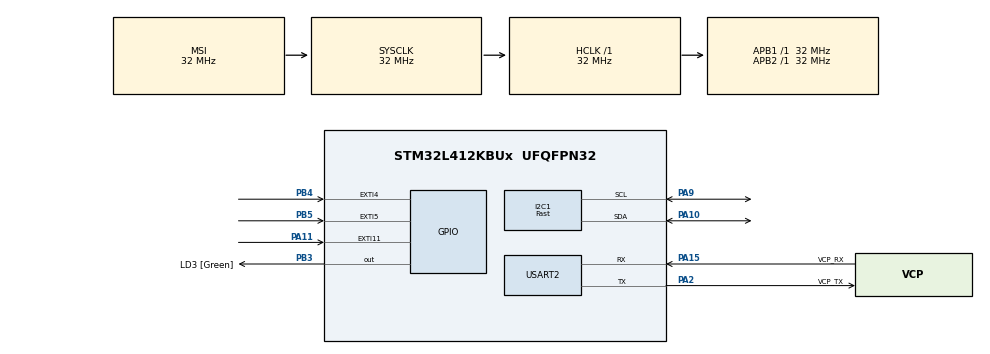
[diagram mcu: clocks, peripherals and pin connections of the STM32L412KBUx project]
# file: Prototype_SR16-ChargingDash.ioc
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I2C1.I2C_Speed_Mode=I2C_Fast
I2C1.Timing=0x0060112F
Mcu.Family=STM32L4
Mcu.Name=STM32L412KBUx
Mcu.Package=UFQFPN32
NVIC.EXTI15_10_IRQn=true\:0\:0\:false\:false\:true\:true\:true\:true
NVIC.EXTI4_IRQn=true\:0\:0\:false\:false\:true\:true\:true\:true
NVIC.EXTI9_5_IRQn=true\:0\:0\:false\:false\:true\:true\:true\:true
NVIC.PriorityGroup=NVIC_PRIORITYGROUP_4
PA0-CK_IN.Mode=HSE-External-Clock-Source-for-LittleOrca
PA0-CK_IN.Signal=RCC_CK_IN
PA10.Mode=I2C
PA10.Signal=I2C1_SDA
PA11.GPIO_ModeDefaultEXTI=GPIO_MODE_IT_FALLING
PA11.GPIO_PuPd=GPIO_PULLUP
PA11.Signal=GPXTI11
PA13\ (JTMS/SWDIO).GPIO_Label=SWDIO
PA13\ (JTMS/SWDIO).Mode=Serial_Wire
PA13\ (JTMS/SWDIO).Signal=SYS_JTMS-SWDIO
PA14\ (JTCK/SWCLK).GPIO_Label=SWCLK
PA14\ (JTCK/SWCLK).Mode=Serial_Wire
PA14\ (JTCK/SWCLK).Signal=SYS_JTCK-SWCLK
PA15\ (JTDI).GPIO_Label=VCP_RX
PA15\ (JTDI).Mode=Asynchronous
PA15\ (JTDI).Signal=USART2_RX
PA2.GPIO_Label=VCP_TX
PA2.Mode=Asynchronous
PA2.Signal=USART2_TX
PA9.Mode=I2C
PA9.Signal=I2C1_SCL
PB3\ (JTDO/TRACESWO).GPIO_Label=LD3 [Green]
PB3\ (JTDO/TRACESWO).Signal=GPIO_Output
PB4\ (NJTRST).GPIO_ModeDefaultEXTI=GPIO_MODE_IT_FALLING
PB4\ (NJTRST).GPIO_PuPd=GPIO_PULLUP
PB4\ (NJTRST).Signal=GPXTI4
PB5.GPIO_ModeDefaultEXTI=GPIO_MODE_IT_FALLING
PB5.GPIO_PuPd=GPIO_PULLUP
PB5.Signal=GPXTI5
PC14-OSC32_IN\ (PC14).Mode=LSE-External-Oscillator
PC14-OSC32_IN\ (PC14).Signal=RCC_OSC32_IN
PC15-OSC32_OUT\ (PC15).Mode=LSE-External-Oscillator
PC15-OSC32_OUT\ (PC15).Signal=RCC_OSC32_OUT
ProjectManager.HeapSize=0x200
ProjectManager.StackSize=0x400
ProjectManager.TargetToolchain=STM32CubeIDE
RCC.ADCFreq_Value=32000000
RCC.AHBFreq_Value=32000000
RCC.APB1Freq_Value=32000000
RCC.APB1TimFreq_Value=32000000
RCC.APB2Freq_Value=32000000
RCC.APB2TimFreq_Value=32000000
RCC.CortexFreq_Value=32000000
RCC.FLatency=FLASH_LATENCY_1
RCC.HCLKFreq_Value=32000000
RCC.HSE_VALUE=8000000
RCC.HSI48_VALUE=48000000
RCC.HSICalibrationValue=64
RCC.HSI_VALUE=16000000
RCC.LSE_Drive_Capability=RCC_LSEDRIVE_LOW
RCC.MSIClockRange=RCC_MSIRANGE_10
RCC.MSI_VALUE=32000000
RCC.SYSCLKFreq_VALUE=32000000
RCC.USBFreq_Value=32000000
RCC.VCOOutputFreq_Value=256000000
USART2.VirtualMode-Asynchronous=VM_ASYNC
board=NUCLEO-L412KB

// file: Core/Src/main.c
/* USER CODE BEGIN Header */
/**
  ******************************************************************************
  * @file           : main.c
  * @brief          : Main program body
  ******************************************************************************
  * @attention
  *
  * Copyright (c) 2025 STMicroelectronics.
  * All rights reserved.
  *
  * This software is licensed under terms that can be found in the LICENSE file
  * in the root directory of this software component.
  * If no LICENSE file comes with this software, it is provided AS-IS.
  *
  ******************************************************************************
  */
/* USER CODE END Header */
#include "main.h"

/* USER CODE BEGIN Includes */
#include <stdbool.h>
#include "display.h"
#include "ssd1306.h"

/* USER CODE END Includes */

I2C_HandleTypeDef hi2c1;

UART_HandleTypeDef huart2;

/* USER CODE BEGIN PV */

//Variables for button presses.
int selectedButton = 0;
bool selectPressed = false;
uint32_t currentTime;
uint32_t previousTime;

/* USER CODE END PV */

void SystemClock_Config(void);
static void MX_GPIO_Init(void);
static void MX_USART2_UART_Init(void);
static void MX_I2C1_Init(void);
/* USER CODE BEGIN PFP */

void HAL_GPIO_EXTI_Callback(uint16_t GPIO_Pin);

/* USER CODE END PFP */

/* USER CODE BEGIN 0 */

//Interrupt for button press.
void HAL_GPIO_EXTI_Callback(uint16_t GPIO_Pin) {

	currentTime = HAL_GetTick();

	//debounce set at 200ms
	if (currentTime - previousTime > 200) {
		//rightmost button is GPIO_PIN_4, leftmost button is GPIO_PIN_11
		if (GPIO_Pin == GPIO_PIN_4 && !selectPressed) {
			selectedButton++;
		}
		else if (GPIO_Pin == GPIO_PIN_11 && !selectPressed) {
			selectedButton--;
		}
		else if (GPIO_Pin == GPIO_PIN_5) {
			selectPressed = true;
		}
		previousTime = currentTime;
	}
}

/* USER CODE END 0 */

int main(void)
{

  /* MCU Configuration--------------------------------------------------------*/

  /* Reset of all peripherals, Initializes the Flash interface and the Systick. */
  HAL_Init();

  /* Configure the system clock */
  SystemClock_Config();

  /* Initialize all configured peripherals */
  MX_GPIO_Init();
  MX_USART2_UART_Init();
  MX_I2C1_Init();
  /* USER CODE BEGIN 2 */
  SRE_Display_Init(true);

  /* USER CODE END 2 */

  /* Infinite loop */
  while (1)
  {

  }
}

void SystemClock_Config(void)
{
  RCC_OscInitTypeDef RCC_OscInitStruct = {0};
  RCC_ClkInitTypeDef RCC_ClkInitStruct = {0};

  /** Configure the main internal regulator output voltage
  */
  if (HAL_PWREx_ControlVoltageScaling(PWR_REGULATOR_VOLTAGE_SCALE1) != HAL_OK)
  {
    Error_Handler();
  }

  /** Configure LSE Drive Capability
  */
  HAL_PWR_EnableBkUpAccess();
  __HAL_RCC_LSEDRIVE_CONFIG(RCC_LSEDRIVE_LOW);

  /** Initializes the RCC Oscillators according to the specified parameters
  * in the RCC_OscInitTypeDef structure.
  */
  RCC_OscInitStruct.OscillatorType = RCC_OSCILLATORTYPE_LSE|RCC_OSCILLATORTYPE_MSI;
  RCC_OscInitStruct.LSEState = RCC_LSE_ON;
  RCC_OscInitStruct.MSIState = RCC_MSI_ON;
  RCC_OscInitStruct.MSICalibrationValue = 0;
  RCC_OscInitStruct.MSIClockRange = RCC_MSIRANGE_10;
  RCC_OscInitStruct.PLL.PLLState = RCC_PLL_NONE;
  if (HAL_RCC_OscConfig(&RCC_OscInitStruct) != HAL_OK)
  {
    Error_Handler();
  }

  /** Initializes the CPU, AHB and APB buses clocks
  */
  RCC_ClkInitStruct.ClockType = RCC_CLOCKTYPE_HCLK|RCC_CLOCKTYPE_SYSCLK
                              |RCC_CLOCKTYPE_PCLK1|RCC_CLOCKTYPE_PCLK2;
  RCC_ClkInitStruct.SYSCLKSource = RCC_SYSCLKSOURCE_MSI;
  RCC_ClkInitStruct.AHBCLKDivider = RCC_SYSCLK_DIV1;
  RCC_ClkInitStruct.APB1CLKDivider = RCC_HCLK_DIV1;
  RCC_ClkInitStruct.APB2CLKDivider = RCC_HCLK_DIV1;

  if (HAL_RCC_ClockConfig(&RCC_ClkInitStruct, FLASH_LATENCY_1) != HAL_OK)
  {
    Error_Handler();
  }

  /** Enable MSI Auto calibration
  */
  HAL_RCCEx_EnableMSIPLLMode();
}

static void MX_I2C1_Init(void)
{

  hi2c1.Instance = I2C1;
  hi2c1.Init.Timing = 0x0060112F;
  hi2c1.Init.OwnAddress1 = 0;
  hi2c1.Init.AddressingMode = I2C_ADDRESSINGMODE_7BIT;
  hi2c1.Init.DualAddressMode = I2C_DUALADDRESS_DISABLE;
  hi2c1.Init.OwnAddress2 = 0;
  hi2c1.Init.OwnAddress2Masks = I2C_OA2_NOMASK;
  hi2c1.Init.GeneralCallMode = I2C_GENERALCALL_DISABLE;
  hi2c1.Init.NoStretchMode = I2C_NOSTRETCH_DISABLE;
  if (HAL_I2C_Init(&hi2c1) != HAL_OK)
  {
    Error_Handler();
  }

  /** Configure Analogue filter
  */
  if (HAL_I2CEx_ConfigAnalogFilter(&hi2c1, I2C_ANALOGFILTER_ENABLE) != HAL_OK)
  {
    Error_Handler();
  }

  /** Configure Digital filter
  */
  if (HAL_I2CEx_ConfigDigitalFilter(&hi2c1, 0) != HAL_OK)
  {
    Error_Handler();
  }

}

static void MX_USART2_UART_Init(void)
{

  huart2.Instance = USART2;
  huart2.Init.BaudRate = 115200;
  huart2.Init.WordLength = UART_WORDLENGTH_8B;
  huart2.Init.StopBits = UART_STOPBITS_1;
  huart2.Init.Parity = UART_PARITY_NONE;
  huart2.Init.Mode = UART_MODE_TX_RX;
  huart2.Init.HwFlowCtl = UART_HWCONTROL_NONE;
  huart2.Init.OverSampling = UART_OVERSAMPLING_16;
  huart2.Init.OneBitSampling = UART_ONE_BIT_SAMPLE_DISABLE;
  huart2.AdvancedInit.AdvFeatureInit = UART_ADVFEATURE_NO_INIT;
  if (HAL_UART_Init(&huart2) != HAL_OK)
  {
    Error_Handler();
  }

}

static void MX_GPIO_Init(void)
{
  GPIO_InitTypeDef GPIO_InitStruct = {0};

  /* GPIO Ports Clock Enable */
  __HAL_RCC_GPIOC_CLK_ENABLE();
  __HAL_RCC_GPIOA_CLK_ENABLE();
  __HAL_RCC_GPIOB_CLK_ENABLE();

  /*Configure GPIO pin Output Level */
  HAL_GPIO_WritePin(LD3_GPIO_Port, LD3_Pin, GPIO_PIN_RESET);

  /*Configure GPIO pin : PA11 */
  GPIO_InitStruct.Pin = GPIO_PIN_11;
  GPIO_InitStruct.Mode = GPIO_MODE_IT_FALLING;
  GPIO_InitStruct.Pull = GPIO_PULLUP;
  HAL_GPIO_Init(GPIOA, &GPIO_InitStruct);

  /*Configure GPIO pin : LD3_Pin */
  GPIO_InitStruct.Pin = LD3_Pin;
  GPIO_InitStruct.Mode = GPIO_MODE_OUTPUT_PP;
  GPIO_InitStruct.Pull = GPIO_NOPULL;
  GPIO_InitStruct.Speed = GPIO_SPEED_FREQ_LOW;
  HAL_GPIO_Init(LD3_GPIO_Port, &GPIO_InitStruct);

  /*Configure GPIO pins : PB4 PB5 */
  GPIO_InitStruct.Pin = GPIO_PIN_4|GPIO_PIN_5;
  GPIO_InitStruct.Mode = GPIO_MODE_IT_FALLING;
  GPIO_InitStruct.Pull = GPIO_PULLUP;
  HAL_GPIO_Init(GPIOB, &GPIO_InitStruct);

  /* EXTI interrupt init*/
  HAL_NVIC_SetPriority(EXTI4_IRQn, 0, 0);
  HAL_NVIC_EnableIRQ(EXTI4_IRQn);

  HAL_NVIC_SetPriority(EXTI9_5_IRQn, 0, 0);
  HAL_NVIC_EnableIRQ(EXTI9_5_IRQn);

  HAL_NVIC_SetPriority(EXTI15_10_IRQn, 0, 0);
  HAL_NVIC_EnableIRQ(EXTI15_10_IRQn);

}

void Error_Handler(void)
{
  __disable_irq();
  while (1)
  {
  }
}
